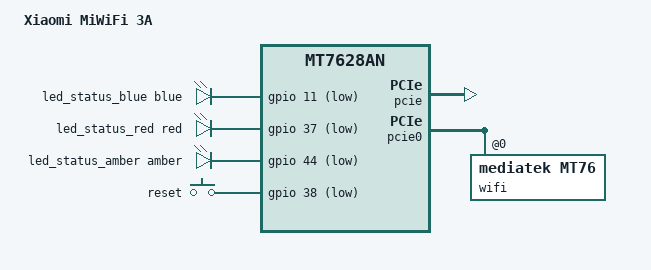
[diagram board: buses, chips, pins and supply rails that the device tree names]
//SPDX-License-Identifier: GPL-2.0-or-later OR MIT

#include "mt7628an_xiaomi_mi-router-4.dtsi"

/ {
	compatible = "xiaomi,miwifi-3a", "mediatek,mt7628an-soc";
	model = "Xiaomi MiWiFi 3A";
	aliases {
		led-boot = &led_status_amber;
		led-failsafe = &led_status_red;
		led-running = &led_status_blue;
		led-upgrade = &led_status_amber;
		label-mac-device = &ethernet;
	};

	leds {
		compatible = "gpio-leds";

		led_status_blue: status_blue {
			function = LED_FUNCTION_STATUS;
			color = <LED_COLOR_ID_BLUE>;
			gpios = <&gpio 11 GPIO_ACTIVE_LOW>;
		};
		led_status_red: status_red {
			function = LED_FUNCTION_STATUS;
			color = <LED_COLOR_ID_RED>;
			gpios = <&gpio 37 GPIO_ACTIVE_LOW>;
		};
		led_status_amber: status_amber {
			function = LED_FUNCTION_STATUS;
			color = <LED_COLOR_ID_AMBER>;
			gpios = <&gpio 44 GPIO_ACTIVE_LOW>;
		};
	};

	keys {
		compatible = "gpio-keys";

		reset {
			label = "reset";
			gpios = <&gpio 38 GPIO_ACTIVE_LOW>;
			linux,code = <KEY_RESTART>;
		};
	};
};

&state_default {
	gpio {
		groups = "gpio", "refclk", "wdt", "wled_an";
		function = "gpio";
	};
};

&ehci {
	status = "disabled";
};

&ohci {
	status = "disabled";
};

&esw {
	mediatek,portmap = <0x3e>;
	mediatek,portdisable = <0x2a>;
};

&pcie {
	status = "okay";
};

&pcie0 {
	wifi@0,0 {
		compatible = "mediatek,mt76";
		reg = <0x0000 0 0 0 0>;
		nvmem-cells = <&eeprom_factory_8000>;
		nvmem-cell-names = "eeprom";
		ieee80211-freq-limit = <5000000 6000000>;
	};
};

&ethernet {
	nvmem-cells = <&macaddr_factory_28>;
	nvmem-cell-names = "mac-address";
};

&partitions {
	partition@80000 {
		label = "overlay";
		reg = <0x80000 0x100000>;
		read-only;
	};

	partition@180000 {
		label = "firmware";
		reg = <0x180000 0xcc0000>;
		compatible = "denx,uimage";
	};
};
